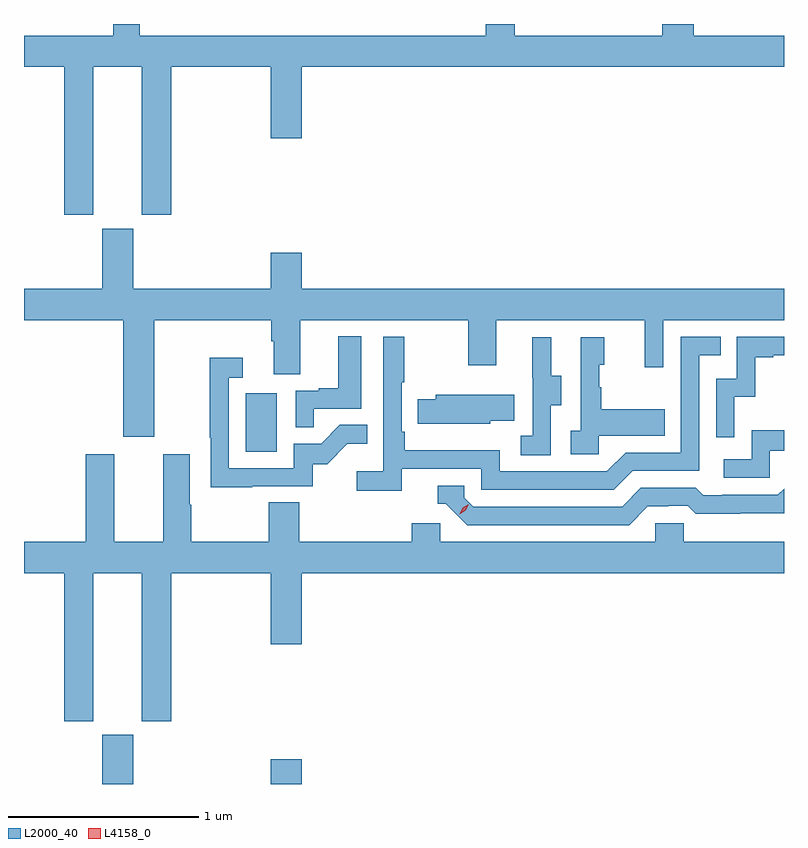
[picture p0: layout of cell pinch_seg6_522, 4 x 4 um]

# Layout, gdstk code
import gdstk
lib = gdstk.Library(unit=1e-6, precision=1e-09)
def R(c, l, rs):  # rectangles x0, y0, x1, y1
    for r in rs: c.add(gdstk.rectangle(r[:2], r[2:], *l))
def P(c, l, *ps):  # polygons
    for p in ps: c.add(gdstk.Polygon(p, *l))
L2000_40 = (2000, 40)
L4158_0 = (4158, 0)

pinch_seg6_522 = lib.new_cell('pinch_seg6_522')
R(pinch_seg6_522, L2000_40, [(823.46,918.254,823.624,918.513), (824.348,918.254,824.512,918.385), (824.216,920.004,824.38,920.311)])
P(pinch_seg6_522, L2000_40, [(823.67,921.249),(823.823,921.249),(823.823,922.028),(824.348,922.028),(824.348,921.654),(824.512,921.654),(824.512,922.028),(827.049,922.028),(827.049,922.192),(826.574,922.192),(826.574,922.254),(826.409,922.254),(826.409,922.192),(825.632,922.192),(825.632,922.254),(825.479,922.254),(825.479,922.192),(823.657,922.192),(823.657,922.254),(823.518,922.254),(823.518,922.192),(823.049,922.192),(823.049,922.028),(823.262,922.028),(823.262,921.249),(823.414,921.249),(823.414,922.028),(823.67,922.028)],
  [(823.735,920.696),(824.351,920.696),(824.351,920.584),(824.363,920.584),(824.363,920.41),(824.503,920.41),(824.503,920.696),(825.388,920.696),(825.388,920.457),(825.535,920.457),(825.535,920.696),(826.316,920.696),(826.316,920.448),(826.413,920.448),(826.413,920.696),(827.049,920.696),(827.049,920.86),(824.512,920.86),(824.512,921.049),(824.348,921.049),(824.348,920.86),(823.624,920.86),(823.624,921.177),(823.46,921.177),(823.46,920.86),(823.049,920.86),(823.049,920.696),(823.571,920.696),(823.571,920.082),(823.735,920.082)],
  [(824.573,920.229),(824.824,920.229),(824.824,920.611),(824.702,920.611),(824.702,920.338),(824.599,920.338),(824.599,920.325),(824.478,920.325),(824.478,920.131),(824.573,920.131)],
  [(825.038,919.914),(825.456,919.914),(825.456,919.803),(826.153,919.803),(826.252,919.902),(826.602,919.902),(826.602,920.511),(826.715,920.511),(826.715,920.607),(826.506,920.607),(826.506,919.998),(826.215,919.998),(826.116,919.899),(825.552,919.899),(825.552,920.011),(825.053,920.011),(825.053,920.107),(825.036,920.107),(825.036,920.368),(825.049,920.368),(825.049,920.608),(824.94,920.608),(824.94,919.9),(824.799,919.9),(824.799,919.798),(825.038,919.798)],
  [(826.788,920.291),(826.898,920.291),(826.898,920.499),(826.993,920.499),(826.993,920.511),(827.049,920.511),(827.049,920.607),(826.8,920.607),(826.8,920.388),(826.692,920.388),(826.692,920.079),(826.788,920.079)],
  [(825.822,920.248),(825.877,920.248),(825.877,920.403),(825.823,920.403),(825.823,920.605),(825.725,920.605),(825.725,920.391),(825.726,920.391),(825.726,920.087),(825.663,920.087),(825.663,919.984),(825.822,919.984)],
  [(826.074,920.087),(826.421,920.087),(826.421,920.227),(826.087,920.227),(826.087,920.342),(826.077,920.342),(826.077,920.46),(826.102,920.46),(826.102,920.605),(825.978,920.605),(825.978,920.114),(825.927,920.114),(825.927,919.989),(826.074,919.989)],
  [(824.249,919.821),(824.568,919.821),(824.568,919.938),(824.644,919.938),(824.751,920.045),(824.855,920.045),(824.855,920.144),(824.712,920.144),(824.614,920.046),(824.469,920.046),(824.469,919.917),(824.127,919.917),(824.127,920.391),(824.2,920.391),(824.2,920.497),(824.026,920.497),(824.026,920.077),(824.031,920.077),(824.031,919.816),(824.249,919.816)],
  [(825.504,920.165),(825.629,920.165),(825.629,920.302),(825.215,920.302),(825.215,920.28),(825.121,920.28),(825.121,920.151),(825.232,920.151),(825.232,920.15),(825.504,920.15)],
  [(826.974,920.007),(827.049,920.007),(827.049,920.116),(826.878,920.116),(826.878,919.962),(826.731,919.962),(826.731,919.866),(826.974,919.866)],
  [(823.414,919.364),(823.67,919.364),(823.67,918.585),(823.823,918.585),(823.823,919.364),(824.348,919.364),(824.348,918.99),(824.512,918.99),(824.512,919.364),(827.049,919.364),(827.049,919.528),(826.521,919.528),(826.521,919.626),(826.371,919.626),(826.371,919.528),(825.24,919.528),(825.24,919.626),(825.089,919.626),(825.089,919.528),(824.498,919.528),(824.498,919.736),(824.338,919.736),(824.338,919.528),(823.929,919.528),(823.929,919.724),(823.921,919.724),(823.921,919.99),(823.781,919.99),(823.781,919.528),(823.525,919.528),(823.525,919.99),(823.373,919.99),(823.373,919.528),(823.049,919.528),(823.049,919.364),(823.262,919.364),(823.262,918.585),(823.414,918.585)],
  [(826.333,919.716),(826.44,919.716),(826.44,919.719),(826.543,919.719),(826.585,919.677),(826.818,919.677),(826.818,919.679),(827.049,919.679),(827.049,919.809),(827.016,919.776),(826.723,919.776),(826.723,919.773),(826.624,919.773),(826.585,919.812),(826.296,919.812),(826.197,919.713),(825.414,919.713),(825.366,919.761),(825.366,919.824),(825.227,919.824),(825.227,919.728),(825.27,919.728),(825.381,919.617),(826.234,919.617)])
P(pinch_seg6_522, L4158_0, [(825.343,919.675),(825.343,919.675),(825.359,919.707),(825.39,919.726),(825.391,919.726),(825.391,919.726),(825.374,919.694),(825.343,919.675)])

lib.write_gds('pinch_seg6_522.gds')
